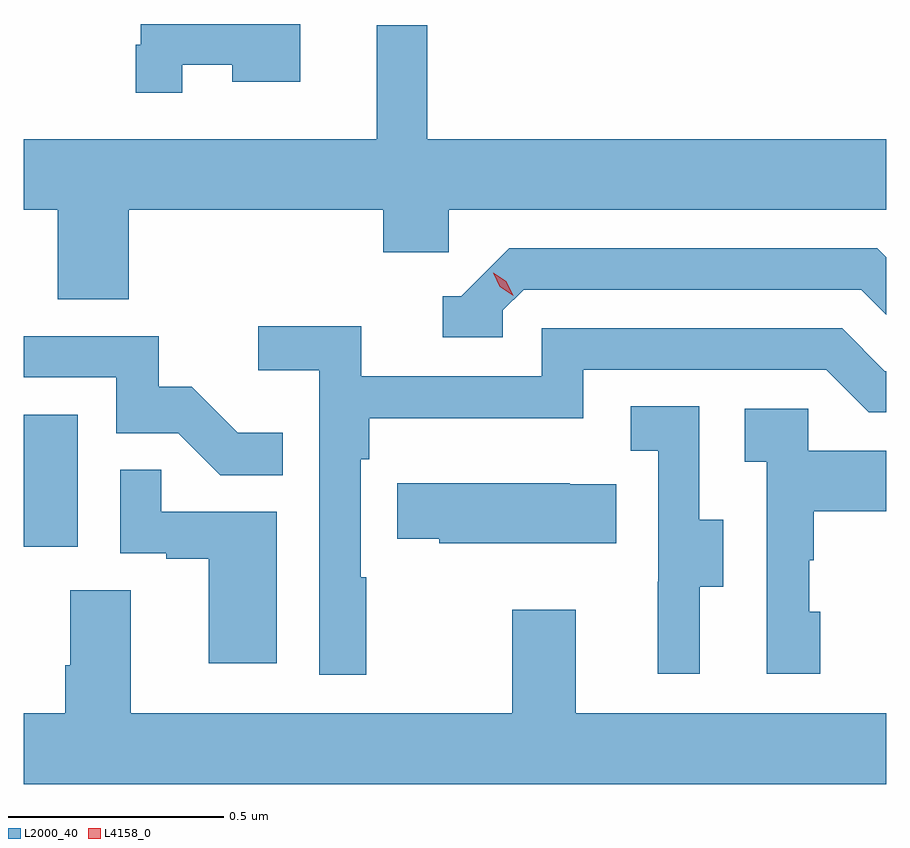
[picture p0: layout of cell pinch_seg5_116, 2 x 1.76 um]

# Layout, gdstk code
import gdstk
lib = gdstk.Library(unit=1e-6, precision=1e-09)
def R(c, l, rs):  # rectangles x0, y0, x1, y1
    for r in rs: c.add(gdstk.rectangle(r[:2], r[2:], *l))
def P(c, l, *ps):  # polygons
    for p in ps: c.add(gdstk.Polygon(p, *l))
L2000_40 = (2000, 40)
L4158_0 = (4158, 0)

pinch_seg5_116 = lib.new_cell('pinch_seg5_116')
R(pinch_seg5_116, L2000_40, [(1046.033,875.958,1046.158,876.265)])
P(pinch_seg5_116, L2000_40, [(1046.4,877.076),(1046.516,877.076),(1046.516,877.037),(1046.674,877.037),(1046.674,877.171),(1046.304,877.171),(1046.304,877.123),(1046.292,877.123),(1046.292,877.011),(1046.4,877.011)],
  [(1046.276,876.74),(1046.867,876.74),(1046.867,876.642),(1047.018,876.642),(1047.018,876.74),(1048.033,876.74),(1048.033,876.904),(1046.969,876.904),(1046.969,877.168),(1046.852,877.168),(1046.852,876.904),(1046.033,876.904),(1046.033,876.74),(1046.111,876.74),(1046.111,876.532),(1046.276,876.532)],
  [(1047.144,876.507),(1047.192,876.555),(1047.975,876.555),(1048.033,876.497),(1048.033,876.63),(1048.012,876.651),(1047.159,876.651),(1047.048,876.54),(1047.005,876.54),(1047.005,876.444),(1047.144,876.444)],
  [(1046.827,875.888),(1046.814,875.888),(1046.814,876.161),(1046.834,876.161),(1046.834,876.257),(1047.33,876.257),(1047.33,876.369),(1047.894,876.369),(1047.993,876.27),(1048.033,876.27),(1048.033,876.366),(1048.03,876.366),(1047.931,876.465),(1047.234,876.465),(1047.234,876.354),(1046.816,876.354),(1046.816,876.47),(1046.577,876.47),(1046.577,876.368),(1046.718,876.368),(1046.718,875.661),(1046.827,875.661)],
  [(1046.633,876.223),(1046.529,876.223),(1046.422,876.33),(1046.346,876.33),(1046.346,876.447),(1046.033,876.447),(1046.033,876.351),(1046.247,876.351),(1046.247,876.222),(1046.391,876.222),(1046.489,876.124),(1046.633,876.124)],
  [(1047.601,875.866),(1047.655,875.866),(1047.655,876.021),(1047.6,876.021),(1047.6,876.284),(1047.441,876.284),(1047.441,876.181),(1047.504,876.181),(1047.504,875.877),(1047.503,875.877),(1047.503,875.664),(1047.601,875.664)],
  [(1047.88,875.808),(1047.855,875.808),(1047.855,875.927),(1047.865,875.927),(1047.865,876.041),(1048.033,876.041),(1048.033,876.181),(1047.852,876.181),(1047.852,876.279),(1047.705,876.279),(1047.705,876.155),(1047.756,876.155),(1047.756,875.664),(1047.88,875.664)],
  [(1046.62,876.039),(1046.351,876.039),(1046.351,876.137),(1046.256,876.137),(1046.256,875.943),(1046.363,875.943),(1046.363,875.931),(1046.462,875.931),(1046.462,875.688),(1046.62,875.688)],
  [(1047.407,876.103),(1047.299,876.103),(1047.299,876.106),(1046.899,876.106),(1046.899,875.977),(1046.997,875.977),(1046.997,875.966),(1047.407,875.966)],
  [(1048.033,875.572),(1047.313,875.572),(1047.313,875.812),(1047.166,875.812),(1047.166,875.572),(1046.281,875.572),(1046.281,875.858),(1046.141,875.858),(1046.141,875.684),(1046.129,875.684),(1046.129,875.572),(1046.033,875.572),(1046.033,875.408),(1048.033,875.408)])
P(pinch_seg5_116, L4158_0, [(1047.168,876.541),(1047.137,876.561),(1047.122,876.594),(1047.122,876.594),(1047.122,876.594),(1047.152,876.574),(1047.168,876.541),(1047.168,876.541)])

lib.write_gds('pinch_seg5_116.gds')
